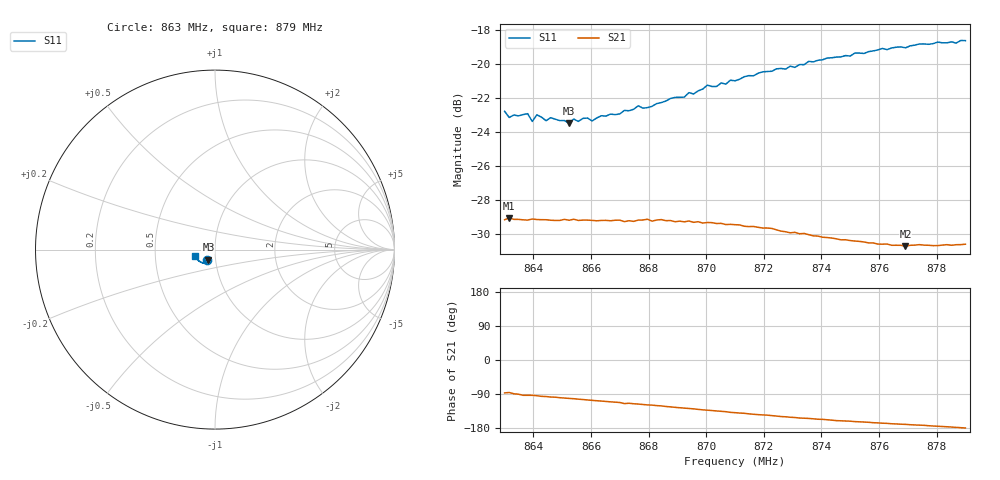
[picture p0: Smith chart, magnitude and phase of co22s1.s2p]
# HZ S RI R 50
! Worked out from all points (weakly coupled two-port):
!   101 points, 863 MHz to 879 MHz, reference 50 ohm
!   highest |S21| = -29.06 dB at 863.16 MHz (marker M1); lowest = -30.7 dB at 876.92 MHz (marker M2)
!   lowest |S11| = -23.5 dB at 865.24 MHz (marker M3), VSWR 1.14, Z = 46.2 - j5.16 ohm
!   |S11| at or under -10 dB: start of sweep to end of sweep
!   S12 and S22 are empty: the file has one direction only
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8.63e8  -0.0462 -0.0558  0.00194 -0.0347  0 0  0 0
8.6316e8  -0.0419 -0.0554  0.00261 -0.0351  0 0  0 0
8.638e8  -0.0452 -0.0551  -0.0019 -0.0346  0 0  0 0
8.6396e8  -0.0409 -0.0538  -0.00195 -0.0349  0 0  0 0
8.6412e8  -0.0428 -0.0563  -0.00262 -0.0347  0 0  0 0
8.6444e8  -0.0398 -0.0551  -0.00389 -0.0346  0 0  0 0
8.646e8  -0.0396 -0.0569  -0.00465 -0.0344  0 0  0 0
8.6524e8  -0.0369 -0.0557  -0.00685 -0.034  0 0  0 0
8.654e8  -0.0376 -0.0575  -0.00735 -0.0341  0 0  0 0
8.6572e8  -0.0383 -0.0574  -0.00859 -0.0336  0 0  0 0
8.6604e8  -0.0352 -0.058  -0.00985 -0.0332  0 0  0 0
8.6764e8  -0.0369 -0.0655  -0.0154 -0.0311  0 0  0 0
8.6796e8  -0.0359 -0.065  -0.0167 -0.0307  0 0  0 0
8.6844e8  -0.0383 -0.0666  -0.018 -0.0298  0 0  0 0
8.6956e8  -0.0419 -0.0698  -0.0215 -0.0266  0 0  0 0
8.7004e8  -0.0459 -0.0733  -0.023 -0.0252  0 0  0 0
8.7036e8  -0.0458 -0.0724  -0.0238 -0.0242  0 0  0 0
8.71e8  -0.0502 -0.0735  -0.0254 -0.0221  0 0  0 0
8.7372e8  -0.0694 -0.0737  -0.0283 -0.0131  0 0  0 0
8.7644e8  -0.0933 -0.0604  -0.0286 -0.00597  0 0  0 0
8.7692e8  -0.0966 -0.0552  -0.0286 -0.00511  0 0  0 0
8.79e8  -0.1107 -0.0373  -0.0295 -0.000341  0 0  0 0
